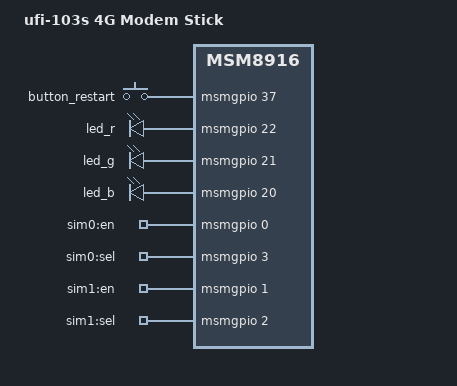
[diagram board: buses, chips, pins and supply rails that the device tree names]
// SPDX-License-Identifier: GPL-2.0-only

/dts-v1/;

#include "msm8916-ufi.dtsi"

/ {
	model = "ufi-103s 4G Modem Stick";
	compatible = "thwc,ufi103s", "qcom,msm8916";
};

&button_restart {
	gpios = <&msmgpio 37 GPIO_ACTIVE_HIGH>;
};

&led_r {
	default-state = "on";
	linux,default-trigger = "mmc0";
	gpios = <&msmgpio 22 GPIO_ACTIVE_HIGH>;
};

&led_g {
	default-state = "off";
	linux,default-trigger = "heartbeat";
	gpios = <&msmgpio 21 GPIO_ACTIVE_HIGH>;
};

&led_b {
	default-state = "off";
	linux,default-trigger = "phy0tx";
	gpios = <&msmgpio 20 GPIO_ACTIVE_HIGH>;
};

&leds {
	sim0-en {
		gpios = <&msmgpio 0 GPIO_ACTIVE_HIGH>;
		label = "sim0:en";
		default-state = "on";
	};

	sim0-sel {
		gpios = <&msmgpio 3 GPIO_ACTIVE_HIGH>;
		label = "sim0:sel";
		default-state = "on";
	};

	sim1-en {
		gpios = <&msmgpio 1 GPIO_ACTIVE_HIGH>;
		label = "sim1:en";
		default-state = "off";
	};

	sim1-sel {
		gpios = <&msmgpio 2 GPIO_ACTIVE_HIGH>;
		label = "sim1:sel";
		default-state = "off";
	};
};

&mpss {
	pinctrl-0 = <&esim_ctrl_default>;
	pinctrl-names = "default";
};

&button_default {
	pins = "gpio37";
	bias-pull-down;
};

&gpio_leds_default {
	pins = "gpio20", "gpio21", "gpio22";
};

&msmgpio {
	/* This selects the eSIM card slot by default */
	esim_ctrl_default: esim-enable {
		sim-sel-pins {
			pins = "gpio1", "gpio2";
			bias-disable;
			output-low;
		};

		esim-en-pins {
			pins = "gpio0";
			bias-disable;
			output-high;
		};

		esim-sel-pins {
			pins = "gpio3";
			bias-disable;
			output-high;
		};
	};

	/* This selects the external SIM card slot by default */
	sim_ctrl_default: sim-enable {
		esim-sel-pins {
			pins = "gpio0", "gpio3";
			bias-disable;
			output-low;
		};

		sim-en-pins {
			pins = "gpio1";
			bias-disable;
			output-low;
		};

		sim-sel-pins {
			pins = "gpio2";
			bias-disable;
			output-high;
		};
	};
};
